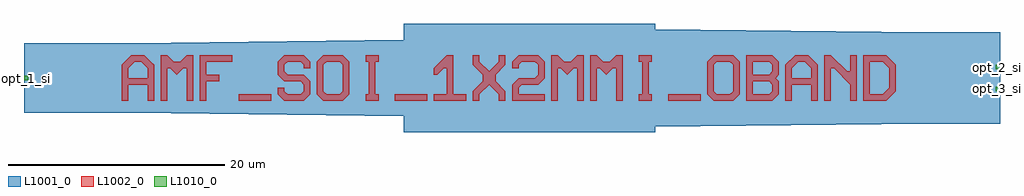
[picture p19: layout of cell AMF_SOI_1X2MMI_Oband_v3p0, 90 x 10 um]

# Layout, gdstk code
import gdstk
lib = gdstk.Library(unit=1e-6, precision=1e-09)
def R(c, l, rs):  # rectangles x0, y0, x1, y1
    for r in rs: c.add(gdstk.rectangle(r[:2], r[2:], *l))
def P(c, l, *ps):  # polygons
    for p in ps: c.add(gdstk.Polygon(p, *l))
L1001_0 = (1001, 0)
L1002_0 = (1002, 0)
L1010_0 = (1010, 0)

amf_soi_1x2mmi_oband_v3p = lib.new_cell('AMF_SOI_1X2MMI_Oband_v3p0')
P(amf_soi_1x2mmi_oband_v3p, L1001_0, [(35,-5),(35,-3.513),(10,-3.205),(0,-3.205),(0,3.205),(10,3.205),(35,3.513),(35,5),(58.2,5),(58.2,4.513),(83.2,4.205),(90,4.205),(90,-4.205),(83.2,-4.205),(58.2,-4.513),(58.2,-5)])
R(amf_soi_1x2mmi_oband_v3p, L1002_0, [(19.8,-2.1,22.8,-1.5), (34.2,-2.1,37.2,-1.5), (59.4,-2.1,62.4,-1.5)])
P(amf_soi_1x2mmi_oband_v3p, L1002_0, [(9,-2.1),(9,1.2),(9.9,2.1),(11.1,2.1),(11.7,1.5),(10.2,1.5),(9.6,0.9),(9.6,0),(11.4,0),(11.4,0.9),(10.8,1.5),(11.7,1.5),(12,1.2),(12,-2.1),(11.4,-2.1),(11.4,-0.6),(9.6,-0.6),(9.6,-2.1)],
  [(12.6,-2.1),(12.6,2.1),(13.2,2.1),(13.8,1.5),(14.4,1.5),(15,2.1),(15.6,2.1),(15.6,-2.1),(15,-2.1),(15,0.9),(14.7,0.9),(14.1,0.3),(13.5,0.9),(13.2,0.9),(13.2,-2.1)],
  [(16.2,-2.1),(16.2,2.1),(19.2,2.1),(19.2,1.5),(16.8,1.5),(16.8,0.3),(18,0.3),(18,-0.3),(16.8,-0.3),(16.8,-2.1)],
  [(24,-2.1),(23.4,-1.5),(23.4,-0.9),(24,-0.9),(24,-1.2),(24.3,-1.5),(25.5,-1.5),(25.8,-1.2),(25.8,-0.6),(25.5,-0.3),(24,-0.3),(23.4,0.3),(23.4,1.5),(24,2.1),(25.8,2.1),(26.4,1.5),(26.4,0.9),(25.8,0.9),(25.8,1.2),(25.5,1.5),(24.3,1.5),(24,1.2),(24,0.6),(24.3,0.3),(25.8,0.3),(26.4,-0.3),(26.4,-1.5),(25.8,-2.1)],
  [(27.6,-2.1),(27,-1.5),(27,1.5),(27.6,2.1),(29.4,2.1),(30,1.5),(30,0),(29.4,0),(29.4,1.2),(29.1,1.5),(27.9,1.5),(27.6,1.2),(27.6,-1.2),(27.9,-1.5),(29.1,-1.5),(29.4,-1.2),(29.4,0),(30,0),(30,-1.5),(29.4,-2.1)],
  [(31.5,-2.1),(31.5,-1.5),(31.8,-1.5),(31.8,1.5),(31.5,1.5),(31.5,2.1),(32.7,2.1),(32.7,1.5),(32.4,1.5),(32.4,-1.5),(32.7,-1.5),(32.7,-2.1)],
  [(37.8,-2.1),(37.8,-1.5),(39,-1.5),(39,0.9),(38.7,0.9),(38.1,0.3),(37.8,0.3),(37.8,0.9),(39,2.1),(39.6,2.1),(39.6,-1.5),(40.8,-1.5),(40.8,-2.1)],
  [(41.4,-2.1),(41.4,-1.2),(42.3,-0.3),(42.3,0.3),(41.4,1.2),(41.4,2.1),(42,2.1),(42,1.5),(42.9,0.6),(43.8,1.5),(43.8,2.1),(44.4,2.1),(44.4,1.2),(43.5,0.3),(43.5,-0.3),(44.4,-1.2),(44.4,-2.1),(43.8,-2.1),(43.8,-1.5),(42.9,-0.6),(42,-1.5),(42,-2.1)],
  [(45,-2.1),(45,-0.6),(45.6,0),(47.1,0),(47.4,0.3),(47.4,1.2),(47.1,1.5),(45.9,1.5),(45.6,1.2),(45.6,0.9),(45,0.9),(45,1.5),(45.6,2.1),(47.4,2.1),(48,1.5),(48,0),(47.4,-0.6),(45.9,-0.6),(45.6,-0.9),(45.6,-1.5),(48,-1.5),(48,-2.1)],
  [(48.6,-2.1),(48.6,2.1),(49.2,2.1),(49.8,1.5),(50.4,1.5),(51,2.1),(51.6,2.1),(51.6,-2.1),(51,-2.1),(51,0.9),(50.7,0.9),(50.1,0.3),(49.5,0.9),(49.2,0.9),(49.2,-2.1)],
  [(52.2,-2.1),(52.2,2.1),(52.8,2.1),(53.4,1.5),(54,1.5),(54.6,2.1),(55.2,2.1),(55.2,-2.1),(54.6,-2.1),(54.6,0.9),(54.3,0.9),(53.7,0.3),(53.1,0.9),(52.8,0.9),(52.8,-2.1)],
  [(56.7,-2.1),(56.7,-1.5),(57,-1.5),(57,1.5),(56.7,1.5),(56.7,2.1),(57.9,2.1),(57.9,1.5),(57.6,1.5),(57.6,-1.5),(57.9,-1.5),(57.9,-2.1)],
  [(63.6,-2.1),(63,-1.5),(63,1.5),(63.6,2.1),(65.4,2.1),(66,1.5),(66,0),(65.4,0),(65.4,1.2),(65.1,1.5),(63.9,1.5),(63.6,1.2),(63.6,-1.2),(63.9,-1.5),(65.1,-1.5),(65.4,-1.2),(65.4,0),(66,0),(66,-1.5),(65.4,-2.1)],
  [(66.6,-2.1),(66.6,2.1),(69,2.1),(69.6,1.5),(67.2,1.5),(67.2,0.3),(68.7,0.3),(69,0.6),(69,1.2),(68.7,1.5),(69.6,1.5),(69.6,0.3),(69.3,0),(69.6,-0.3),(67.2,-0.3),(67.2,-1.5),(68.7,-1.5),(69,-1.2),(69,-0.6),(68.7,-0.3),(69.6,-0.3),(69.6,-1.5),(69,-2.1)],
  [(70.2,-2.1),(70.2,1.2),(71.1,2.1),(72.3,2.1),(72.9,1.5),(71.4,1.5),(70.8,0.9),(70.8,0),(72.6,0),(72.6,0.9),(72,1.5),(72.9,1.5),(73.2,1.2),(73.2,-2.1),(72.6,-2.1),(72.6,-0.6),(70.8,-0.6),(70.8,-2.1)],
  [(73.8,-2.1),(73.8,2.1),(74.4,2.1),(75.9,0.6),(76.2,0.6),(76.2,2.1),(76.8,2.1),(76.8,-2.1),(76.2,-2.1),(76.2,-0.6),(74.7,0.9),(74.4,0.9),(74.4,-2.1)],
  [(77.4,-2.1),(77.4,2.1),(79.5,2.1),(80.1,1.5),(78,1.5),(78,-1.5),(79.2,-1.5),(79.8,-0.9),(79.8,0.9),(79.2,1.5),(80.1,1.5),(80.4,1.2),(80.4,-1.2),(79.5,-2.1)])
R(amf_soi_1x2mmi_oband_v3p, L1010_0, [(89.59,-1.205,90,-0.795), (0,-0.205,0.41,0.205), (89.59,0.795,90,1.205)])
amf_soi_1x2mmi_oband_v3p.add(gdstk.Label('opt_2_si', (90,1), layer=1010, texttype=0))
amf_soi_1x2mmi_oband_v3p.add(gdstk.Label('opt_3_si', (90,-1), layer=1010, texttype=0))
amf_soi_1x2mmi_oband_v3p.add(gdstk.Label('opt_1_si', (0,0), layer=1010, texttype=0))

lib.write_gds('AMF_SOI_1X2MMI_Oband_v3p0.gds')
